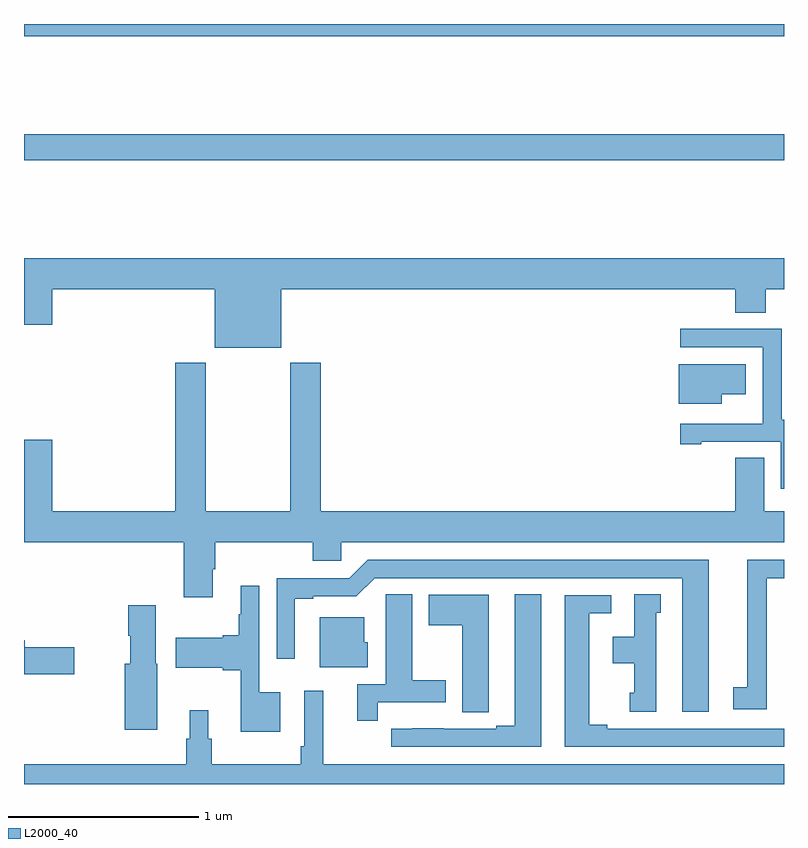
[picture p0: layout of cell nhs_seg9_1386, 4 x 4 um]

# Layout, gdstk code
import gdstk
lib = gdstk.Library(unit=1e-6, precision=1e-09)
def R(c, l, rs):  # rectangles x0, y0, x1, y1
    for r in rs: c.add(gdstk.rectangle(r[:2], r[2:], *l))
def P(c, l, *ps):  # polygons
    for p in ps: c.add(gdstk.Polygon(p, *l))
L2000_40 = (2000, 40)

nhs_seg9_1386 = lib.new_cell('nhs_seg9_1386')
R(nhs_seg9_1386, L2000_40, [(189,1179.784,193,1179.92), (189,1180.436,193,1180.5)])
P(nhs_seg9_1386, L2000_40, [(190.354,1179.104),(192.743,1179.104),(192.743,1178.98),(192.903,1178.98),(192.903,1179.104),(193,1179.104),(193,1179.268),(189,1179.268),(189,1178.916),(189.148,1178.916),(189.148,1179.104),(190.004,1179.104),(190.004,1178.795),(190.354,1178.795)],
  [(193,1178.417),(192.987,1178.417),(192.987,1178.895),(192.453,1178.895),(192.453,1178.799),(192.888,1178.799),(192.888,1178.398),(192.887,1178.398),(192.887,1178.397),(192.453,1178.397),(192.453,1178.289),(192.565,1178.289),(192.565,1178.301),(192.984,1178.301),(192.984,1178.055),(193,1178.055)],
  [(190.562,1178.716),(190.402,1178.716),(190.402,1177.936),(189.957,1177.936),(189.957,1178.716),(189.797,1178.716),(189.797,1177.936),(189.148,1177.936),(189.148,1178.311),(189,1178.311),(189,1177.772),(189.842,1177.772),(189.842,1177.482),(189.994,1177.482),(189.994,1177.63),(190.007,1177.63),(190.007,1177.772),(190.52,1177.772),(190.52,1177.674),(190.671,1177.674),(190.671,1177.772),(193,1177.772),(193,1177.936),(192.895,1177.936),(192.895,1178.216),(192.743,1178.216),(192.743,1177.936),(190.562,1177.936)],
  [(192.673,1178.552),(192.799,1178.552),(192.799,1178.71),(192.446,1178.71),(192.446,1178.501),(192.673,1178.501)],
  [(192.91,1177.584),(193,1177.584),(193,1177.68),(192.806,1177.68),(192.806,1177.01),(192.732,1177.01),(192.732,1176.894),(192.91,1176.894)],
  [(192.604,1177.68),(190.809,1177.68),(190.713,1177.584),(190.329,1177.584),(190.329,1177.158),(190.426,1177.158),(190.426,1177.476),(190.522,1177.476),(190.522,1177.488),(190.749,1177.488),(190.845,1177.584),(192.464,1177.584),(192.464,1176.879),(192.604,1176.879)],
  [(190.348,1176.982),(190.239,1176.982),(190.239,1177.543),(190.142,1177.543),(190.142,1177.394),(190.131,1177.394),(190.131,1177.283),(190.046,1177.283),(190.046,1177.27),(189.798,1177.27),(189.798,1177.112),(190.046,1177.112),(190.046,1177.1),(190.142,1177.1),(190.142,1176.776),(190.348,1176.776)],
  [(191.722,1177.499),(191.582,1177.499),(191.582,1176.807),(191.486,1176.807),(191.486,1176.792),(191.21,1176.792),(191.21,1176.793),(191.044,1176.793),(191.044,1176.792),(190.932,1176.792),(190.932,1176.696),(191.722,1176.696)],
  [(190.862,1176.93),(191.221,1176.93),(191.221,1177.047),(191.044,1177.047),(191.044,1177.499),(190.905,1177.499),(190.905,1177.388),(190.904,1177.388),(190.904,1177.026),(190.754,1177.026),(190.754,1176.834),(190.862,1176.834)],
  [(192.328,1177.401),(192.352,1177.401),(192.352,1177.499),(192.212,1177.499),(192.212,1177.276),(192.098,1177.276),(192.098,1177.136),(192.212,1177.136),(192.212,1176.981),(192.188,1176.981),(192.188,1176.879),(192.328,1176.879)],
  [(191.445,1176.985),(191.446,1176.985),(191.446,1177.495),(191.129,1177.495),(191.129,1177.336),(191.306,1177.336),(191.306,1176.877),(191.445,1176.877)],
  [(193,1176.792),(192.07,1176.792),(192.07,1176.812),(191.974,1176.812),(191.974,1177.398),(192.091,1177.398),(192.091,1177.494),(191.846,1177.494),(191.846,1176.696),(193,1176.696)],
  [(189.7,1177.134),(189.694,1177.134),(189.694,1177.441),(189.548,1177.441),(189.548,1177.281),(189.56,1177.281),(189.56,1177.134),(189.53,1177.134),(189.53,1176.786),(189.7,1176.786)],
  [(190.81,1177.245),(190.792,1177.245),(190.792,1177.378),(190.556,1177.378),(190.556,1177.115),(190.81,1177.115)],
  [(189.265,1177.22),(189.004,1177.22),(189.004,1177.256),(189,1177.256),(189,1177.078),(189.265,1177.078)],
  [(193,1176.604),(190.574,1176.604),(190.574,1176.991),(190.476,1176.991),(190.476,1176.7),(190.456,1176.7),(190.456,1176.604),(189.989,1176.604),(189.989,1176.738),(189.97,1176.738),(189.97,1176.889),(189.872,1176.889),(189.872,1176.738),(189.853,1176.738),(189.853,1176.604),(189,1176.604),(189,1176.5),(193,1176.5)])

lib.write_gds('nhs_seg9_1386.gds')
